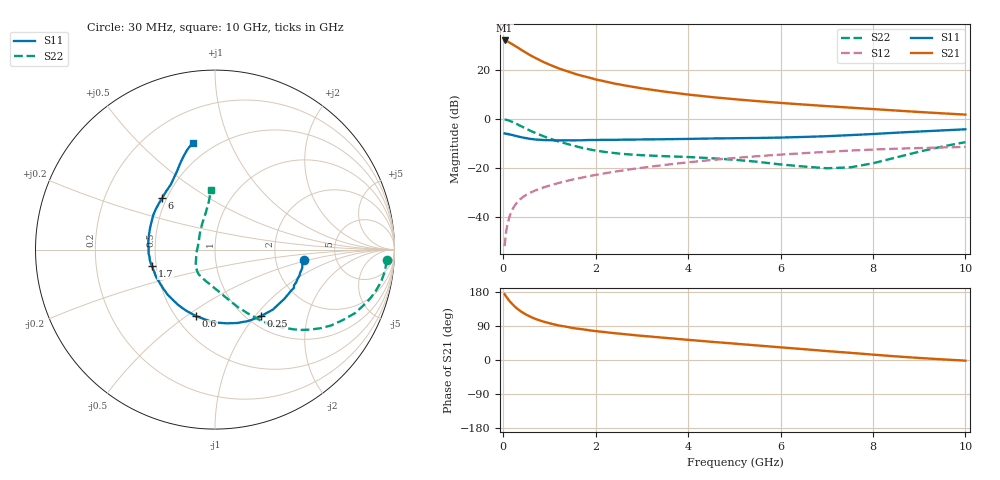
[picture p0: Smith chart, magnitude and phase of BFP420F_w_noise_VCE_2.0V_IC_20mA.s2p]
! Infineon Technologies  Discrete & RF Semiconductors
! BFP420F
! VCE =  2.0 V,  IC =  20 mA
! Common Emitter S-Parameters:  Sep 2011
# GHz  S  MA  R  50
!  f  S11  S21  S12  S22
! GHz  MAG  ANG  MAG  ANG  MAG  ANG  MAG  ANG
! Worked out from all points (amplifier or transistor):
!   54 points, 30 MHz to 10 GHz, reference 50 ohm
!   highest |S21| = 31.9 dB at 30 MHz (marker M1)
!   |S21| within 3 dB of that: start of sweep to 323.3 MHz
!   unconditionally stable (mu >= 1): 1.627 GHz to end of sweep
!   at 120 MHz: K = 0.25, MSG = 36.1 dB, |S12| = -41.0 dB
!   at 1.3 GHz: K = 0.91, MSG = 22.8 dB, |S12| = -25.8 dB
!   at 10 GHz: K = 1.24, MAG = 3.7 dB, |S12| = -11.5 dB
!   lowest NFmin = 1.53 dB at 450 MHz
!   S11 on the Smith chart (normalised r, x): 30 MHz: 2.91, -0.45; 250 MHz: 1.15, -1.07; 600 MHz: 0.63, -0.55; 1.7 GHz: 0.47, -0.10; 6 GHz: 0.47, +0.33; 10 GHz: 0.39, +0.73
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0.03  0.4982 -6.7  39.49 173.7  0.0025 89.7  0.9574 -3.5
0.05  0.4967 -11.9  38.81 169.7  0.0037 87.4  0.9546 -6.4
0.07  0.4922 -17.2  38.54 166.6  0.0054 84.0  0.9477 -9.2
0.12  0.4813 -28.7  36.6 157.9  0.0089 80.9  0.9184 -15.5
0.15  0.474 -35.3  35.15 153.6  0.0109 78.3  0.8964 -19.0
0.2  0.4644 -46.0  32.98 147.1  0.0141 74.7  0.8567 -24.4
0.25  0.4502 -55.7  30.76 141.0  0.0169 72.2  0.8128 -28.9
0.3  0.4391 -65.0  28.89 135.8  0.0196 69.8  0.7726 -33.2
0.4  0.4161 -80.8  25.11 126.8  0.0241 66.3  0.6923 -40.1
0.5  0.3997 -94.0  22.01 119.6  0.028 63.9  0.6214 -45.6
0.6  0.3857 -105.7  19.38 113.5  0.0313 62.3  0.5598 -50.2
0.8  0.3706 -123.6  15.48 103.9  0.0375 60.9  0.4657 -57.5
1  0.3643 -136.7  12.71 97.1  0.0431 60.5  0.3954 -63.2
1.3  0.3596 -151.5  9.871 89.1  0.0515 60.2  0.3214 -70.7
1.7  0.3622 -165.2  7.514 81.3  0.0626 59.9  0.2549 -80.3
2.4  0.3698 179.2  5.228 70.8  0.0825 58.3  0.1991 -96.9
3.5  0.3807 162.3  3.556 58.5  0.1141 54.3  0.1715 -116.3
5.5  0.404 141.2  2.281 38.3  0.1713 42.9  0.1319 -144.5
6  0.4115 135.6  2.099 33.4  0.1849 39.8  0.1163 -154.7
7  0.4388 124.0  1.804 23.6  0.2103 33.2  0.0974 173.0
8.5  0.5172 112.1  1.466 9.5  0.2438 22.3  0.1618 116.1
10  0.6075 101.9  1.211 -1.7  0.2654 13.1  0.3318 93.9
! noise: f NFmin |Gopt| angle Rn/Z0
0.45  1.53  0.18  -179  0.15
0.9  1.54  0.18  -179  0.17
1.9  1.66  0.26  -170  0.15
2.4  1.72  0.27  -165  0.11
3.5  1.96  0.29  -155  0.15
